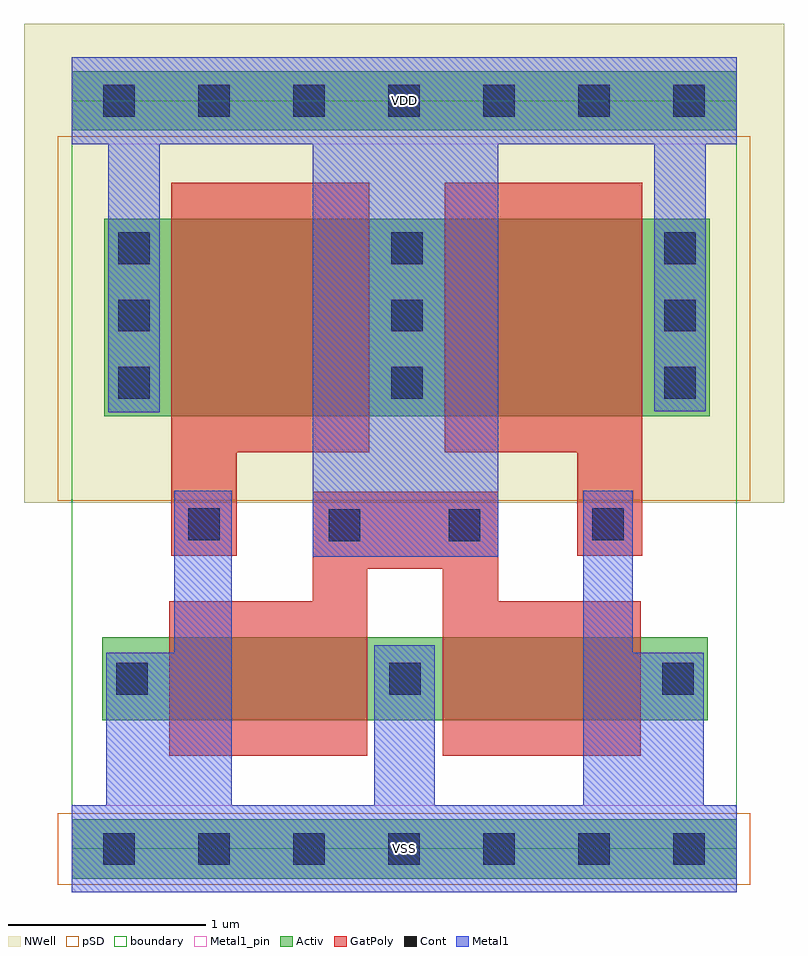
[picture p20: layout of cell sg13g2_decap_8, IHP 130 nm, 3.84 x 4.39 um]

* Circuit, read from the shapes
.subckt sg13g2_decap_8 VDD VSS
XM1 VSS VDD VSS VSS sg13_lv_nmos w=0.42u l=1u m=2
XM2 VDD VSS VDD VDD sg13_lv_pmos w=1u l=1u m=2
.ends

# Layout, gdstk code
import gdstk
lib = gdstk.Library(unit=1e-6, precision=1e-09)
def R(c, l, rs):  # rectangles x0, y0, x1, y1
    for r in rs: c.add(gdstk.rectangle(r[:2], r[2:], *l))
def P(c, l, *ps):  # polygons
    for p in ps: c.add(gdstk.Polygon(p, *l))
Activ = (1, 0)
GatPoly = (5, 0)
Cont = (6, 0)
Metal1 = (8, 0)
Metal1_pin = (8, 2)
pSD = (14, 0)
NWell = (31, 0)
boundary = (189, 4)

sg13g2_decap_8 = lib.new_cell('sg13g2_decap_8')
R(sg13g2_decap_8, Activ, [(0,-0.15,3.36,0.15), (0,-0.15,3.36,0.15), (0.155,0.65,3.215,1.07), (0.155,0.65,3.215,1.07), (0.165,2.185,3.225,3.185), (0.165,2.185,3.225,3.185), (0,3.63,3.36,3.93), (0,3.63,3.36,3.93)])
P(sg13g2_decap_8, GatPoly, [(0.495,0.47),(0.495,1.25),(1.22,1.25),(1.22,1.805),(2.155,1.805),(2.155,1.25),(2.875,1.25),(2.875,0.47),(1.875,0.47),(1.875,1.415),(1.495,1.415),(1.495,0.47)],
  [(2.555,1.48),(2.555,2.005),(1.885,2.005),(1.885,3.365),(2.885,3.365),(2.885,1.48)],
  [(0.505,1.48),(0.505,3.365),(1.505,3.365),(1.505,2.005),(0.835,2.005),(0.835,1.48)],
  [(0.495,0.47),(0.495,1.25),(1.22,1.25),(1.22,1.805),(2.155,1.805),(2.155,1.25),(2.875,1.25),(2.875,0.47),(1.875,0.47),(1.875,1.415),(1.495,1.415),(1.495,0.47)],
  [(2.555,1.48),(2.555,2.005),(1.885,2.005),(1.885,3.365),(2.885,3.365),(2.885,1.48)],
  [(0.505,1.48),(0.505,3.365),(1.505,3.365),(1.505,2.005),(0.835,2.005),(0.835,1.48)])
R(sg13g2_decap_8, Cont, [(0.16,-0.08,0.32,0.08), (0.16,-0.08,0.32,0.08), (0.64,-0.08,0.8,0.08), (0.64,-0.08,0.8,0.08), (1.12,-0.08,1.28,0.08), (1.12,-0.08,1.28,0.08), (1.6,-0.08,1.76,0.08), (1.6,-0.08,1.76,0.08), (2.08,-0.08,2.24,0.08), (2.08,-0.08,2.24,0.08), (2.56,-0.08,2.72,0.08), (2.56,-0.08,2.72,0.08), (3.04,-0.08,3.2,0.08), (3.04,-0.08,3.2,0.08), (0.225,0.78,0.385,0.94), (0.225,0.78,0.385,0.94), (1.605,0.78,1.765,0.94), (1.605,0.78,1.765,0.94), (2.985,0.78,3.145,0.94), (2.985,0.78,3.145,0.94), (1.3,1.555,1.46,1.715), (1.3,1.555,1.46,1.715), (1.905,1.555,2.065,1.715), (1.905,1.555,2.065,1.715), (0.59,1.56,0.75,1.72), (0.59,1.56,0.75,1.72), (2.63,1.56,2.79,1.72), (2.63,1.56,2.79,1.72), (0.235,2.275,0.395,2.435), (0.235,2.275,0.395,2.435), (1.615,2.275,1.775,2.435), (1.615,2.275,1.775,2.435), (2.995,2.275,3.155,2.435), (2.995,2.275,3.155,2.435), (0.235,2.615,0.395,2.775), (0.235,2.615,0.395,2.775), (1.615,2.615,1.775,2.775), (1.615,2.615,1.775,2.775), (2.995,2.615,3.155,2.775), (2.995,2.615,3.155,2.775), (0.235,2.955,0.395,3.115), (0.235,2.955,0.395,3.115), (1.615,2.955,1.775,3.115), (1.615,2.955,1.775,3.115), (2.995,2.955,3.155,3.115), (2.995,2.955,3.155,3.115), (0.16,3.7,0.32,3.86), (0.16,3.7,0.32,3.86), (0.64,3.7,0.8,3.86), (0.64,3.7,0.8,3.86), (1.12,3.7,1.28,3.86), (1.12,3.7,1.28,3.86), (1.6,3.7,1.76,3.86), (1.6,3.7,1.76,3.86), (2.08,3.7,2.24,3.86), (2.08,3.7,2.24,3.86), (2.56,3.7,2.72,3.86), (2.56,3.7,2.72,3.86), (3.04,3.7,3.2,3.86), (3.04,3.7,3.2,3.86)])
P(sg13g2_decap_8, Metal1, [(0,-0.22),(0,0.22),(0.175,0.22),(0.175,0.99),(0.52,0.99),(0.52,1.81),(0.81,1.81),(0.81,0.22),(1.53,0.22),(1.53,1.03),(1.835,1.03),(1.835,0.22),(2.585,0.22),(2.585,1.81),(2.835,1.81),(2.835,0.99),(3.195,0.99),(3.195,0.22),(3.36,0.22),(3.36,-0.22)],
  [(1.22,1.475),(1.22,3.56),(0.445,3.56),(0.445,2.205),(0.185,2.205),(0.185,3.56),(0,3.56),(0,4),(3.36,4),(3.36,3.56),(3.205,3.56),(3.205,2.21),(2.945,2.21),(2.945,3.56),(2.155,3.56),(2.155,1.475)],
  [(0,-0.22),(0,0.22),(0.175,0.22),(0.175,0.99),(0.52,0.99),(0.52,1.81),(0.81,1.81),(0.81,0.22),(1.53,0.22),(1.53,1.03),(1.835,1.03),(1.835,0.22),(2.585,0.22),(2.585,1.81),(2.835,1.81),(2.835,0.99),(3.195,0.99),(3.195,0.22),(3.36,0.22),(3.36,-0.22)],
  [(1.22,1.475),(1.22,3.56),(0.445,3.56),(0.445,2.205),(0.185,2.205),(0.185,3.56),(0,3.56),(0,4),(3.36,4),(3.36,3.56),(3.205,3.56),(3.205,2.21),(2.945,2.21),(2.945,3.56),(2.155,3.56),(2.155,1.475)])
R(sg13g2_decap_8, Metal1_pin, [(0,-0.22,3.36,0.22), (0,-0.22,3.36,0.22), (0,3.56,3.36,4), (0,3.56,3.36,4)])
R(sg13g2_decap_8, pSD, [(-0.07,-0.18,3.43,0.18), (-0.07,-0.18,3.43,0.18), (-0.07,1.76,3.43,3.6), (-0.07,1.76,3.43,3.6)])
R(sg13g2_decap_8, NWell, [(-0.24,1.75,3.6,4.17), (-0.24,1.75,3.6,4.17)])
R(sg13g2_decap_8, boundary, [(0,0,3.36,3.78), (0,0,3.36,3.78)])
sg13g2_decap_8.add(gdstk.Label('VDD', (1.68,3.78), layer=8, texttype=25))
sg13g2_decap_8.add(gdstk.Label('VSS', (1.68,0), layer=8, texttype=25))
sg13g2_decap_8.add(gdstk.Label('VDD', (1.68,3.78), layer=8, texttype=25))
sg13g2_decap_8.add(gdstk.Label('VSS', (1.68,0), layer=8, texttype=25))

lib.write_gds('sg13g2_decap_8.gds')
